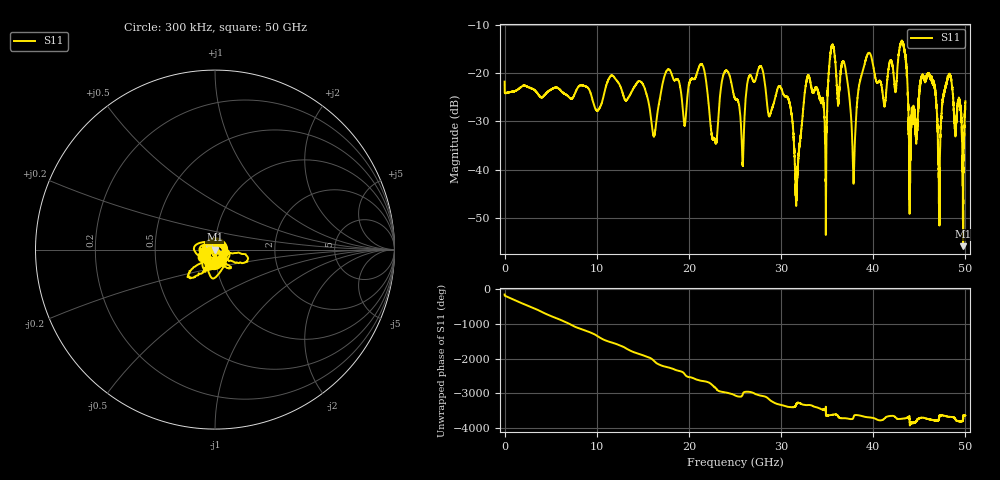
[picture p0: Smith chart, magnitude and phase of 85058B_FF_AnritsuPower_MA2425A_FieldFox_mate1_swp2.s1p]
!Created with skrf (http://scikit-rf.org).
# Hz S RI R 50.0
!freq ReS11 ImS11
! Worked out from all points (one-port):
!   10001 points, 300 kHz to 50 GHz, reference 50 ohm
!   lowest |S11| = -55.7 dB at 49.76 GHz (marker M1), VSWR 1.00, Z = 49.9 - j0.0956 ohm
!   |S11| at or under -10 dB: start of sweep to end of sweep
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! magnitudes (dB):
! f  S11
! 300 kHz  -21.8
! 6.25 GHz  -24.0
! 12.5 GHz  -22.5
! 16.2 GHz  -33.0
! 18.75 GHz  -21.2
! 19.54 GHz  -30.8
! 21.46 GHz  -18.3
! 22.78 GHz  -33.6
! 23.86 GHz  -19.9
! 25 GHz  -25.3
! 25.83 GHz  -38.5
! 27.79 GHz  -18.6
! 31.25 GHz  -30.2
! 31.74 GHz  -42.4
! 32.96 GHz  -20.5
! 34.81 GHz  -38.3
! 35.57 GHz  -14.4
! 37.5 GHz  -26.8
! 37.88 GHz  -42.4
! 39.35 GHz  -16.3
! 41.21 GHz  -26.6
! 43.1 GHz  -13.5
! 43.75 GHz  -24.2
! 46.19 GHz  -20.9
! 47.18 GHz  -43.3
! 48.27 GHz  -20.7
! 49.76 GHz  -55.7
! 50 GHz  -25.8
